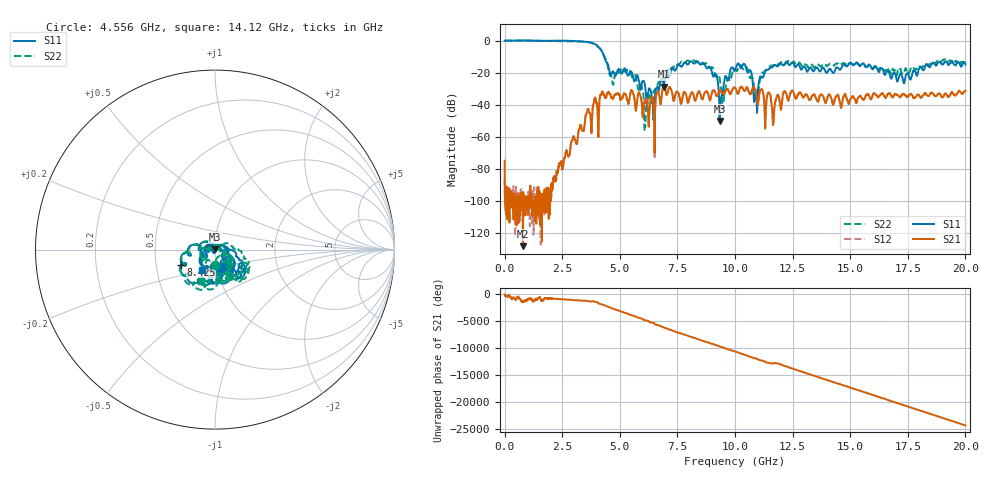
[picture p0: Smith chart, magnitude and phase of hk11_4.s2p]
#  HZ  S  RI  R  50.00
! Rohde & Schwarz Vector Network Analyzer
! Rohde-Schwarz,ZNB20-2Port,1311601062102128,3.60
! Created: UTC 4/29/2024, 3:47:08 PM
! freq[Hz]  re:S11  im:S11  re:S21  im:S21  re:S12  im:S12  re:S22  im:S22
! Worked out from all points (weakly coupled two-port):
!   2007 points, 100 kHz to 20 GHz, reference 50 ohm
!   highest |S21| = -28.70 dB at 6.919 GHz (marker M1); lowest = -128.0 dB at 797.7 MHz (marker M2)
!   lowest |S11| = -50.1 dB at 9.332 GHz (marker M3), VSWR 1.01, Z = 49.8 + j0.222 ohm
!   |S11| at or under -10 dB: 4.326 GHz to end of sweep
!   |S22| runs from -56.1 to 0.1 dB; largest |S21 - S12| = 0.0019
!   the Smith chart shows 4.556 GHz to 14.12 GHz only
!   S11 on the Smith chart (normalised r, x): 4.556 GHz: 1.04, -0.21; 8.425 GHz: 0.67, -0.12; 14.12 GHz: 0.85, -0.19
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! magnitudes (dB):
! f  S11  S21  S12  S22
! 100 kHz  0.0  -74.8  -86.1  0.1
! 797.7 MHz  0.1  -128.0  -110.6  0.0
! 2.243 GHz  0.0  -86.3  -84.5  -0.3
! 3.34 GHz  -0.6  -55.3  -54.9  -0.6
! 4.118 GHz  -4.7  -37.1  -37.3  -4.6
! 4.556 GHz  -19.5  -32.9  -32.9  -21.3
! 5.633 GHz  -25.4  -36.1  -36.1  -21.3
! 6.122 GHz  -31.3  -36.4  -36.5  -46.6
! 6.67 GHz  -30.1  -31.9  -31.9  -26.2
! 6.919 GHz  -26.6  -28.7  -28.8  -20.1
! 8.425 GHz  -13.6  -31.6  -31.6  -13.0
! 9.163 GHz  -20.9  -33.2  -33.3  -22.3
! 9.332 GHz  -50.1  -30.9  -31.0  -23.2
! 9.502 GHz  -28.1  -33.0  -33.0  -38.2
! 10 GHz  -18.6  -29.3  -29.3  -17.7
! 10.66 GHz  -18.6  -33.2  -33.2  -23.4
! 10.9 GHz  -33.8  -31.6  -31.7  -34.0
! 11.67 GHz  -16.0  -51.1  -51.6  -15.4
! 13.34 GHz  -17.9  -34.4  -34.5  -14.9
! 14.12 GHz  -17.5  -33.8  -33.9  -14.3
! 16.67 GHz  -19.1  -32.9  -32.9  -18.9
! 20 GHz  -14.5  -31.2  -31.2  -15.2
